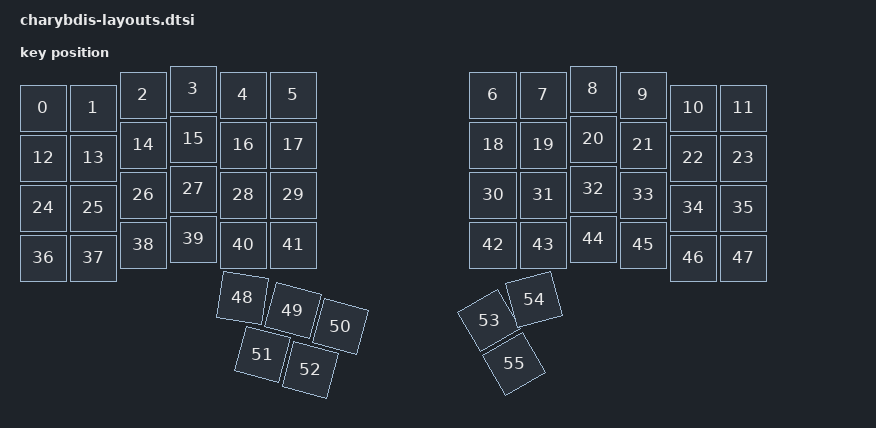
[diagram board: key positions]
#include <physical_layouts.dtsi>

/ {
    charybdis_physical_layout: charybdis_physical_layout {
        compatible = "zmk,physical-layout";
        display-name = "Charybdis 4x6";

        kscan = <&kscan0>;
        transform = <&default_transform>;

        keys
            // Left Half - Main Keys
            //                       w   h    x    y     rot    rx    ry
            = <&key_physical_attrs 100 100    0   38       0     0     0>
            , <&key_physical_attrs 100 100  100   38       0     0     0>
            , <&key_physical_attrs 100 100  200   12       0     0     0>
            , <&key_physical_attrs 100 100  300    0       0     0     0>
            , <&key_physical_attrs 100 100  400   12       0     0     0>
            , <&key_physical_attrs 100 100  500   12       0     0     0>
            , <&key_physical_attrs 100 100  900   12       0     0     0>
            , <&key_physical_attrs 100 100 1000   12       0     0     0>
            , <&key_physical_attrs 100 100 1100    0       0     0     0>
            , <&key_physical_attrs 100 100 1200   12       0     0     0>
            , <&key_physical_attrs 100 100 1300   38       0     0     0>
            , <&key_physical_attrs 100 100 1400   38       0     0     0>
            // 2
            , <&key_physical_attrs 100 100    0  138       0     0     0>
            , <&key_physical_attrs 100 100  100  138       0     0     0>
            , <&key_physical_attrs 100 100  200  112       0     0     0>
            , <&key_physical_attrs 100 100  300  100       0     0     0>
            , <&key_physical_attrs 100 100  400  112       0     0     0>
            , <&key_physical_attrs 100 100  500  112       0     0     0>
            , <&key_physical_attrs 100 100  900  112       0     0     0>
            , <&key_physical_attrs 100 100 1000  112       0     0     0>
            , <&key_physical_attrs 100 100 1100  100       0     0     0>
            , <&key_physical_attrs 100 100 1200  112       0     0     0>
            , <&key_physical_attrs 100 100 1300  138       0     0     0>
            , <&key_physical_attrs 100 100 1400  138       0     0     0>
            // 3
            , <&key_physical_attrs 100 100    0  238       0     0     0>
            , <&key_physical_attrs 100 100  100  238       0     0     0>
            , <&key_physical_attrs 100 100  200  212       0     0     0>
            , <&key_physical_attrs 100 100  300  200       0     0     0>
            , <&key_physical_attrs 100 100  400  212       0     0     0>
            , <&key_physical_attrs 100 100  500  212       0     0     0>
            , <&key_physical_attrs 100 100  900  212       0     0     0>
            , <&key_physical_attrs 100 100 1000  212       0     0     0>
            , <&key_physical_attrs 100 100 1100  200       0     0     0>
            , <&key_physical_attrs 100 100 1200  212       0     0     0>
            , <&key_physical_attrs 100 100 1300  238       0     0     0>
            , <&key_physical_attrs 100 100 1400  238       0     0     0>
            // 4
            , <&key_physical_attrs 100 100    0  338       0     0     0>
            , <&key_physical_attrs 100 100  100  338       0     0     0>
            , <&key_physical_attrs 100 100  200  312       0     0     0>
            , <&key_physical_attrs 100 100  300  300       0     0     0>
            , <&key_physical_attrs 100 100  400  312       0     0     0>
            , <&key_physical_attrs 100 100  500  312       0     0     0>
            , <&key_physical_attrs 100 100  900  312       0     0     0>
            , <&key_physical_attrs 100 100 1000  312       0     0     0>
            , <&key_physical_attrs 100 100 1100  300       0     0     0>
            , <&key_physical_attrs 100 100 1200  312       0     0     0>
            , <&key_physical_attrs 100 100 1300  338       0     0     0>
            , <&key_physical_attrs 100 100 1400  338       0     0     0>

            // Thumb Clusters
            //                       w   h    x    y     rot    rx    ry
            , <&key_physical_attrs 100 100  348  414    900    398   790>
            , <&key_physical_attrs 100 100  418  414    1500   398   790>
            , <&key_physical_attrs 100 100  518  420    1500   398   790>
            , <&key_physical_attrs 100 100  382  514    1500   398   790>
            , <&key_physical_attrs 100 100  482  520    1500   398   790>
            , <&key_physical_attrs 100 100 1052  420 (-3000)  1102   790>
            , <&key_physical_attrs 100 100 1067  414 (-1500)  1102   790>
            , <&key_physical_attrs 100 100 1052  520 (-3000)  1102   790>
            ;
    };
};
// rgb,SPI
&pinctrl {
    spi3_default: spi3_default {
        group1 {
            psels = <NRF_PSEL(SPIM_MOSI, 0, 6)>;
        };
    };

    spi3_sleep: spi3_sleep {
        group1 {
            psels = <NRF_PSEL(SPIM_MOSI, 0, 6)>;
            low-power-enable;
		};
	};
};

&spi3 {
	compatible = "nordic,nrf-spim";
	status = "okay";

	pinctrl-0 = <&spi3_default>;
	pinctrl-1 = <&spi3_sleep>;
	pinctrl-names = "default", "sleep";


	led_strip: ws2812@0 {
		compatible = "worldsemi,ws2812-spi";
		label = "WS2812";

		/* SPI */
		reg = <0>; /* ignored, but necessary for SPI bindings */
		spi-max-frequency = <4000000>;

		/* WS2812 */
		chain-length = <36>; /* There are per-key RGB, but the first 6 are underglow */
		spi-one-frame = <0x70>;
		spi-zero-frame = <0x40>;
		color-mapping = <LED_COLOR_ID_GREEN LED_COLOR_ID_RED LED_COLOR_ID_BLUE>;
	};
};

/ {
	chosen {
		zmk,underglow = &led_strip;
	};
};
